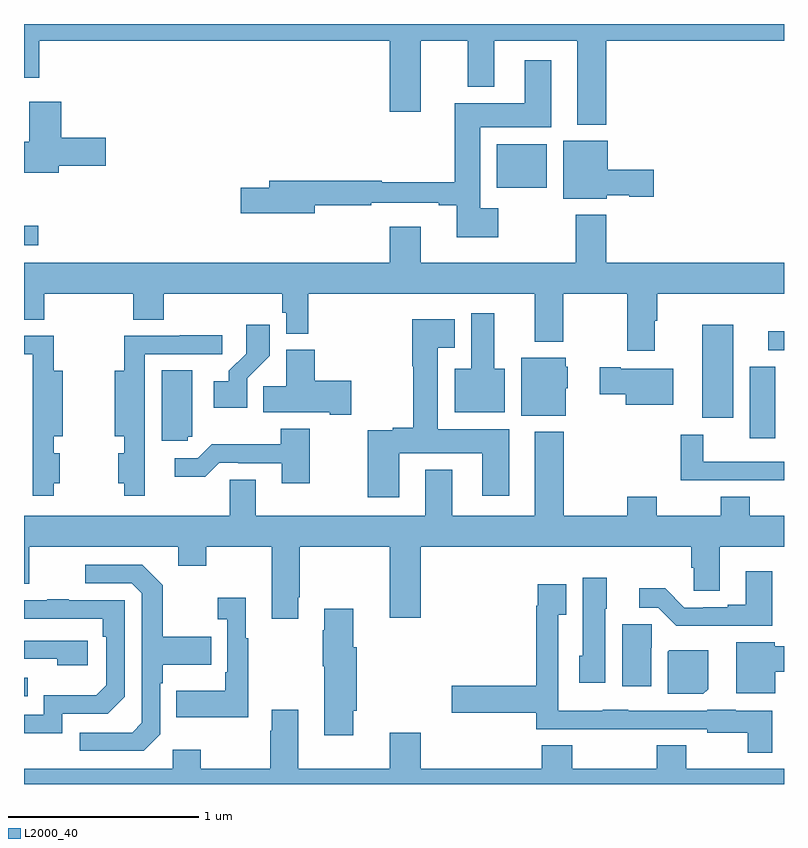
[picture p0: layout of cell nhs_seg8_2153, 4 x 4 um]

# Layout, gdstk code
import gdstk
lib = gdstk.Library(unit=1e-6, precision=1e-09)
def R(c, l, rs):  # rectangles x0, y0, x1, y1
    for r in rs: c.add(gdstk.rectangle(r[:2], r[2:], *l))
def P(c, l, *ps):  # polygons
    for p in ps: c.add(gdstk.Polygon(p, *l))
L2000_40 = (2000, 40)

nhs_seg8_2153 = lib.new_cell('nhs_seg8_2153')
R(nhs_seg8_2153, L2000_40, [(247,1134.363,247.019,1134.459), (250.82,1135.719,250.954,1136.095), (250.571,1135.827,250.732,1136.317), (250.917,1136.184,251,1136.282), (247,1136.736,247.075,1136.837), (249.488,1137.038,249.751,1137.268)])
P(nhs_seg8_2153, L2000_40, [(250.064,1137.812),(251,1137.812),(251,1137.9),(247,1137.9),(247,1137.618),(247.079,1137.618),(247.079,1137.812),(248.924,1137.812),(248.924,1137.438),(249.088,1137.438),(249.088,1137.812),(249.335,1137.812),(249.335,1137.569),(249.475,1137.569),(249.475,1137.812),(249.911,1137.812),(249.911,1137.371),(250.064,1137.371)],
  [(249.496,1136.929),(249.4,1136.929),(249.4,1137.356),(249.775,1137.356),(249.775,1137.709),(249.635,1137.709),(249.635,1137.484),(249.266,1137.484),(249.266,1137.067),(248.882,1137.067),(248.882,1137.074),(248.291,1137.074),(248.291,1137.038),(248.142,1137.038),(248.142,1136.903),(248.53,1136.903),(248.53,1136.946),(248.828,1136.946),(248.828,1136.958),(249.182,1136.958),(249.182,1136.946),(249.278,1136.946),(249.278,1136.777),(249.496,1136.777)],
  [(247.183,1137.155),(247.429,1137.155),(247.429,1137.302),(247.196,1137.302),(247.196,1137.49),(247.028,1137.49),(247.028,1137.279),(247,1137.279),(247,1137.116),(247.183,1137.116)],
  [(250.068,1136.999),(250.185,1136.999),(250.185,1136.992),(250.315,1136.992),(250.315,1137.134),(250.072,1137.134),(250.072,1137.286),(249.839,1137.286),(249.839,1136.981),(250.068,1136.981)],
  [(250.321,1136.339),(250.334,1136.339),(250.334,1136.48),(251,1136.48),(251,1136.644),(250.064,1136.644),(250.064,1136.896),(249.904,1136.896),(249.904,1136.644),(249.088,1136.644),(249.088,1136.833),(248.924,1136.833),(248.924,1136.644),(247,1136.644),(247,1136.344),(247.107,1136.344),(247.107,1136.48),(247.576,1136.48),(247.576,1136.344),(247.736,1136.344),(247.736,1136.48),(248.359,1136.48),(248.359,1136.379),(248.379,1136.379),(248.379,1136.27),(248.495,1136.27),(248.495,1136.48),(249.689,1136.48),(249.689,1136.228),(249.837,1136.228),(249.837,1136.48),(250.174,1136.48),(250.174,1136.181),(250.321,1136.181)],
  [(249.529,1136.086),(249.475,1136.086),(249.475,1136.377),(249.353,1136.377),(249.353,1136.086),(249.266,1136.086),(249.266,1135.856),(249.529,1135.856)],
  [(248.974,1135.64),(249.413,1135.64),(249.413,1135.416),(249.553,1135.416),(249.553,1135.768),(249.178,1135.768),(249.178,1136.195),(249.268,1136.195),(249.268,1136.347),(249.044,1136.347),(249.044,1136.099),(249.049,1136.099),(249.049,1135.775),(248.94,1135.775),(248.94,1135.762),(248.809,1135.762),(248.809,1135.41),(248.974,1135.41)],
  [(248.175,1136.035),(248.294,1136.154),(248.294,1136.317),(248.169,1136.317),(248.169,1136.165),(248.078,1136.075),(248.078,1136.02),(247.998,1136.02),(247.998,1135.88),(248.175,1135.88)],
  [(247.636,1136.163),(248.044,1136.163),(248.044,1136.262),(247.819,1136.262),(247.819,1136.259),(247.527,1136.259),(247.527,1136.074),(247.478,1136.074),(247.478,1135.73),(247.527,1135.73),(247.527,1135.642),(247.495,1135.642),(247.495,1135.484),(247.527,1135.484),(247.527,1135.416),(247.636,1135.416)],
  [(247.156,1135.484),(247.188,1135.484),(247.188,1135.642),(247.156,1135.642),(247.156,1135.73),(247.204,1135.73),(247.204,1136.074),(247.156,1136.074),(247.156,1136.259),(247,1136.259),(247,1136.163),(247.046,1136.163),(247.046,1135.416),(247.156,1135.416)],
  [(248.722,1136.022),(248.531,1136.022),(248.531,1136.185),(248.381,1136.185),(248.381,1135.994),(248.26,1135.994),(248.26,1135.856),(248.609,1135.856),(248.609,1135.844),(248.722,1135.844)],
  [(249.85,1135.983),(249.862,1135.983),(249.862,1136.097),(249.85,1136.097),(249.85,1136.143),(249.617,1136.143),(249.617,1135.838),(249.85,1135.838)],
  [(250.417,1136.086),(250.141,1136.086),(250.141,1136.094),(250.029,1136.094),(250.029,1135.952),(250.166,1135.952),(250.166,1135.895),(250.417,1135.895)],
  [(247.863,1135.728),(247.885,1135.728),(247.885,1136.077),(247.724,1136.077),(247.724,1135.707),(247.863,1135.707)],
  [(248.505,1135.771),(248.35,1135.771),(248.35,1135.687),(247.987,1135.687),(247.914,1135.614),(247.794,1135.614),(247.794,1135.517),(247.955,1135.517),(248.028,1135.59),(248.128,1135.59),(248.128,1135.587),(248.357,1135.587),(248.357,1135.482),(248.505,1135.482)],
  [(248.443,1134.883),(248.451,1134.883),(248.451,1135.148),(248.924,1135.148),(248.924,1134.774),(249.088,1134.774),(249.088,1135.148),(250.511,1135.148),(250.511,1135.038),(250.524,1135.038),(250.524,1134.916),(250.663,1134.916),(250.663,1135.148),(251,1135.148),(251,1135.312),(250.821,1135.312),(250.821,1135.411),(250.666,1135.411),(250.666,1135.312),(250.329,1135.312),(250.329,1135.411),(250.174,1135.411),(250.174,1135.312),(249.842,1135.312),(249.842,1135.753),(249.689,1135.753),(249.689,1135.312),(249.253,1135.312),(249.253,1135.555),(249.113,1135.555),(249.113,1135.312),(248.221,1135.312),(248.221,1135.502),(248.082,1135.502),(248.082,1135.312),(247,1135.312),(247,1134.954),(247.027,1134.954),(247.027,1135.148),(247.811,1135.148),(247.811,1135.049),(247.959,1135.049),(247.959,1135.148),(248.303,1135.148),(248.303,1134.771),(248.443,1134.771)],
  [(251,1135.596),(250.575,1135.596),(250.575,1135.738),(250.456,1135.738),(250.456,1135.5),(251,1135.5)],
  [(247.716,1134.162),(247.716,1134.431),(247.729,1134.431),(247.729,1134.527),(247.985,1134.527),(247.985,1134.675),(247.729,1134.675),(247.729,1134.947),(247.623,1135.053),(247.323,1135.053),(247.323,1134.957),(247.566,1134.957),(247.62,1134.903),(247.62,1134.222),(247.569,1134.171),(247.293,1134.171),(247.293,1134.075),(247.629,1134.075)],
  [(250.939,1135.021),(250.799,1135.021),(250.799,1134.844),(250.703,1134.844),(250.703,1134.831),(250.576,1134.831),(250.576,1134.828),(250.476,1134.828),(250.374,1134.931),(250.239,1134.931),(250.239,1134.828),(250.338,1134.828),(250.433,1134.734),(250.939,1134.734)],
  [(250.06,1134.822),(250.066,1134.822),(250.066,1134.985),(249.941,1134.985),(249.941,1134.576),(249.923,1134.576),(249.923,1134.432),(250.06,1134.432)],
  [(250.937,1134.286),(250.746,1134.286),(250.746,1134.292),(250.596,1134.292),(250.596,1134.285),(250.179,1134.285),(250.179,1134.292),(250.047,1134.292),(250.047,1134.286),(249.813,1134.286),(249.813,1134.791),(249.853,1134.791),(249.853,1134.952),(249.705,1134.952),(249.705,1134.839),(249.697,1134.839),(249.697,1134.416),(249.252,1134.416),(249.252,1134.274),(249.697,1134.274),(249.697,1134.189),(249.947,1134.189),(249.947,1134.188),(250.179,1134.188),(250.179,1134.189),(250.596,1134.189),(250.596,1134.17),(250.809,1134.17),(250.809,1134.065),(250.937,1134.065)],
  [(248.179,1134.667),(248.167,1134.667),(248.167,1134.88),(248.019,1134.88),(248.019,1134.767),(248.07,1134.767),(248.07,1134.487),(248.058,1134.487),(248.058,1134.391),(247.801,1134.391),(247.801,1134.251),(248.179,1134.251)],
  [(247.2,1134.27),(247.44,1134.27),(247.53,1134.36),(247.53,1134.867),(247.235,1134.867),(247.235,1134.872),(247.123,1134.872),(247.123,1134.867),(247,1134.867),(247,1134.771),(247.414,1134.771),(247.414,1134.674),(247.434,1134.674),(247.434,1134.42),(247.381,1134.367),(247.104,1134.367),(247.104,1134.264),(247,1134.264),(247,1134.168),(247.2,1134.168)],
  [(248.734,1134.285),(248.752,1134.285),(248.752,1134.621),(248.734,1134.621),(248.734,1134.823),(248.579,1134.823),(248.579,1134.71),(248.572,1134.71),(248.572,1134.521),(248.579,1134.521),(248.579,1134.156),(248.734,1134.156)],
  [(250.3,1134.618),(250.304,1134.618),(250.304,1134.741),(250.148,1134.741),(250.148,1134.414),(250.3,1134.414)],
  [(247.336,1134.654),(247,1134.654),(247,1134.558),(247.175,1134.558),(247.175,1134.524),(247.336,1134.524)],
  [(250.954,1134.491),(251,1134.491),(251,1134.625),(250.95,1134.625),(250.95,1134.646),(250.748,1134.646),(250.748,1134.377),(250.954,1134.377)],
  [(250.6,1134.4),(250.6,1134.604),(250.396,1134.604),(250.388,1134.596),(250.388,1134.374),(250.574,1134.374)],
  [(248.303,1134.292),(248.303,1134.179),(248.296,1134.179),(248.296,1133.98),(247.929,1133.98),(247.929,1134.079),(247.782,1134.079),(247.782,1133.98),(247,1133.98),(247,1133.9),(251,1133.9),(251,1133.98),(250.485,1133.98),(250.485,1134.104),(250.33,1134.104),(250.33,1133.98),(249.885,1133.98),(249.885,1134.104),(249.725,1134.104),(249.725,1133.98),(249.088,1133.98),(249.088,1134.169),(248.924,1134.169),(248.924,1133.98),(248.443,1133.98),(248.443,1134.292)])

lib.write_gds('nhs_seg8_2153.gds')
